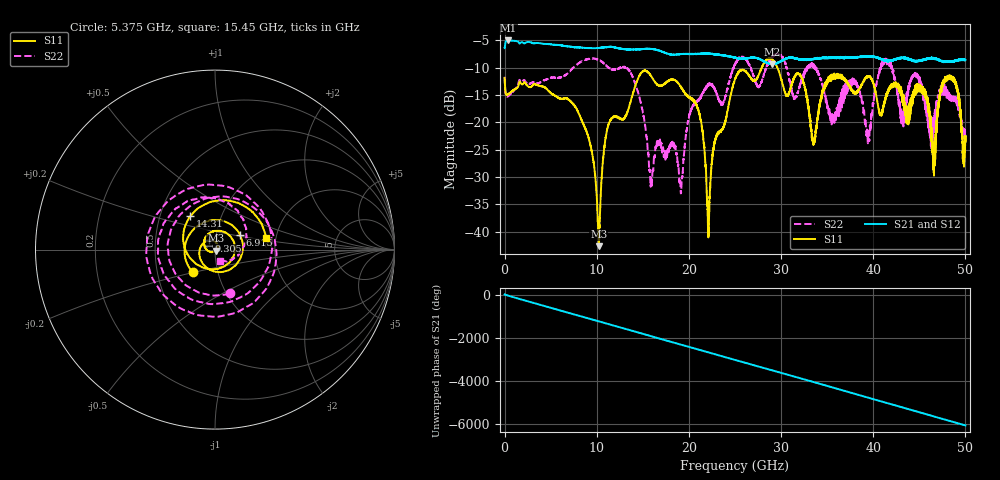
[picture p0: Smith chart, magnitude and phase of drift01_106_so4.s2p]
!Created with skrf (http://scikit-rf.org).
# Hz S RI R 50.0
!freq ReS11 ImS11 ReS21 ImS21 ReS12 ImS12 ReS22 ImS22
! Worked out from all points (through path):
!   10001 points, 300 kHz to 50 GHz, reference 50 ohm
!   highest |S21| = -5.05 dB at 420.3 MHz (marker M1); lowest = -9.4 dB at 28.98 GHz (marker M2)
!   group delay of S21, straight-line fit = 336 ps
!   lowest |S11| = -42.7 dB at 10.23 GHz (marker M3), VSWR 1.01, Z = 50.5 - j0.571 ohm
!   |S11| at or under -10 dB: start of sweep to 27.91 GHz; 29.6 GHz to end of sweep
!   |S22| runs from -33.0 to -7.5 dB; largest |S21 - S12| = 0.014
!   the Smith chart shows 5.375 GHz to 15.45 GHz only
!   S11 on the Smith chart (normalised r, x): 5.375 GHz: 0.76, -0.20; 6.915 GHz: 1.30, +0.22; 9.305 GHz: 0.93, +0.10; 14.31 GHz: 0.71, +0.28; 15.45 GHz: 1.78, +0.25
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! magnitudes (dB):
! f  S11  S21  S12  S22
! 300 kHz  -11.9  -6.4  -6.5  -11.7
! 420.3 MHz  -14.8  -5.1  -5.1  -15.1
! 5.375 GHz  -15.0  -5.9  -5.8  -11.8
! 6.915 GHz  -15.8  -6.1  -6.1  -11.0
! 8.335 GHz  -19.5  -6.4  -6.4  -8.9
! 9.305 GHz  -24.1  -6.4  -6.4  -8.4
! 10.23 GHz  -42.7  -6.4  -6.4  -8.6
! 11.23 GHz  -20.6  -6.2  -6.3  -9.9
! 14.31 GHz  -12.7  -6.7  -6.7  -13.6
! 15.45 GHz  -10.7  -6.6  -6.6  -23.0
! 16.67 GHz  -13.3  -6.9  -6.9  -23.3
! 19.14 GHz  -13.6  -7.5  -7.6  -32.7
! 20.85 GHz  -17.0  -7.5  -7.5  -16.3
! 22.13 GHz  -40.4  -7.5  -7.5  -13.3
! 25 GHz  -12.1  -8.2  -8.2  -9.5
! 28.98 GHz  -8.5  -9.4  -9.4  -8.2
! 33.34 GHz  -22.9  -8.5  -8.4  -9.6
! 39.47 GHz  -11.7  -8.0  -7.9  -22.1
! 41.67 GHz  -13.9  -8.8  -8.7  -8.7
! 46.56 GHz  -24.9  -8.3  -8.2  -20.7
! 48.53 GHz  -12.1  -8.9  -8.9  -15.5
! 50 GHz  -23.2  -8.7  -8.6  -23.0
